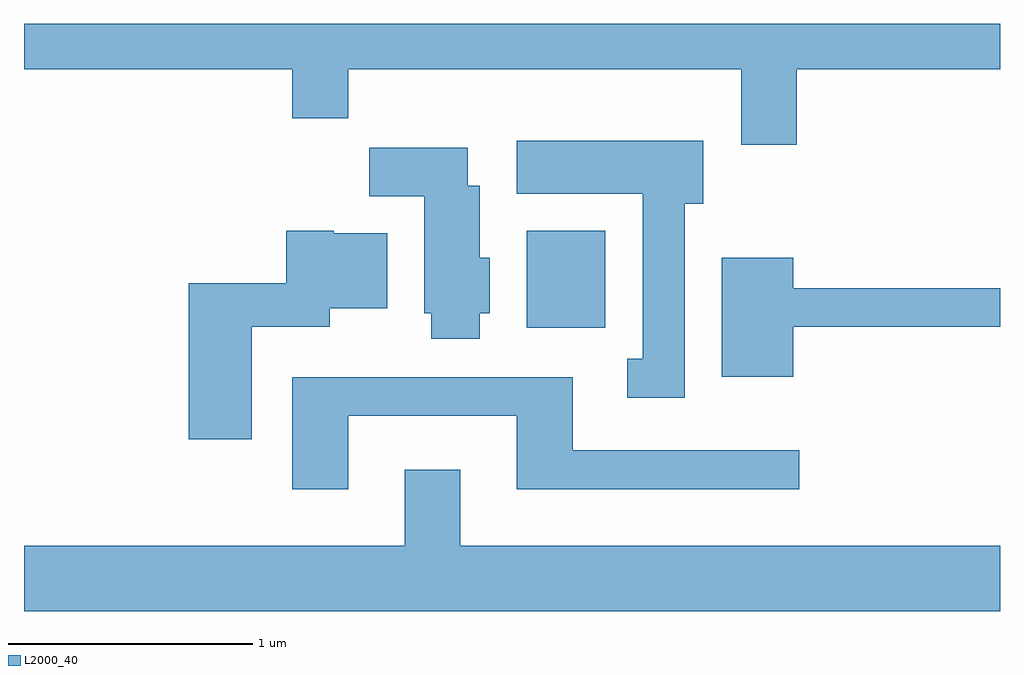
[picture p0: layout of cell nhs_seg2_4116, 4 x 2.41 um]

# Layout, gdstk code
import gdstk
lib = gdstk.Library(unit=1e-6, precision=1e-09)
def R(c, l, rs):  # rectangles x0, y0, x1, y1
    for r in rs: c.add(gdstk.rectangle(r[:2], r[2:], *l))
def P(c, l, *ps):  # polygons
    for p in ps: c.add(gdstk.Polygon(p, *l))
L2000_40 = (2000, 40)

nhs_seg2_4116 = lib.new_cell('nhs_seg2_4116')
R(nhs_seg2_4116, L2000_40, [(307.671,1080.556,307.994,1080.954)])
P(nhs_seg2_4116, L2000_40, [(305.611,1081.616),(306.711,1081.616),(306.711,1081.416),(306.939,1081.416),(306.939,1081.616),(308.551,1081.616),(308.551,1081.306),(308.779,1081.306),(308.779,1081.616),(309.611,1081.616),(309.611,1081.802),(305.611,1081.802)],
  [(308.319,1081.066),(308.394,1081.066),(308.394,1081.324),(307.631,1081.324),(307.631,1081.106),(308.146,1081.106),(308.146,1080.429),(308.083,1080.429),(308.083,1080.271),(308.319,1080.271)],
  [(307.479,1080.616),(307.519,1080.616),(307.519,1080.844),(307.479,1080.844),(307.479,1081.139),(307.429,1081.139),(307.429,1081.294),(307.026,1081.294),(307.026,1081.096),(307.251,1081.096),(307.251,1080.616),(307.281,1080.616),(307.281,1080.511),(307.479,1080.511)],
  [(306.544,1080.561),(306.864,1080.561),(306.864,1080.636),(307.099,1080.636),(307.099,1080.944),(306.88,1080.944),(306.88,1080.954),(306.686,1080.954),(306.686,1080.739),(306.286,1080.739),(306.286,1080.101),(306.544,1080.101)],
  [(308.764,1080.561),(309.611,1080.561),(309.611,1080.719),(308.764,1080.719),(308.764,1080.844),(308.471,1080.844),(308.471,1080.356),(308.764,1080.356)],
  [(306.939,1080.196),(307.631,1080.196),(307.631,1079.896),(308.788,1079.896),(308.788,1080.054),(307.859,1080.054),(307.859,1080.354),(306.711,1080.354),(306.711,1079.896),(306.939,1079.896)],
  [(309.611,1079.664),(307.399,1079.664),(307.399,1079.974),(307.171,1079.974),(307.171,1079.664),(305.611,1079.664),(305.611,1079.396),(309.611,1079.396)])

lib.write_gds('nhs_seg2_4116.gds')
